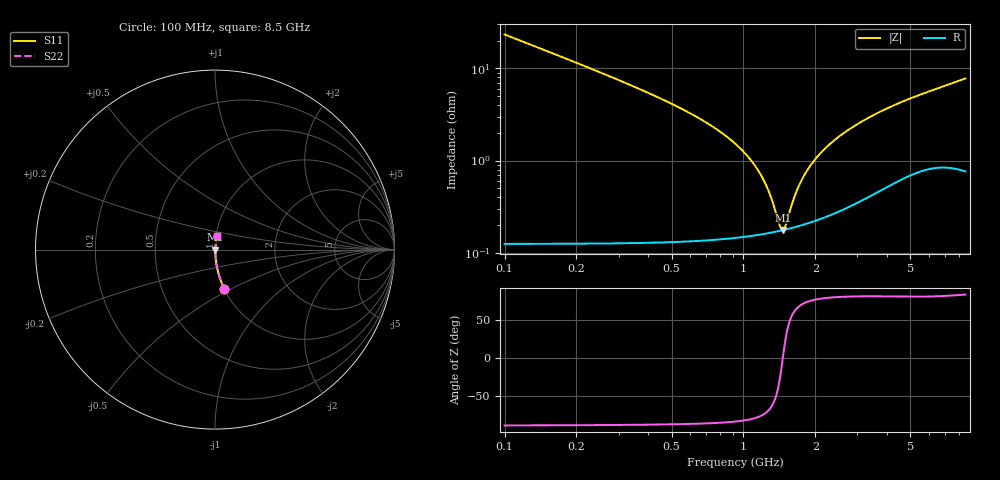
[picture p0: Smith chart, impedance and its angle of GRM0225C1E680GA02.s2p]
!Murata Part Number: GRM0225C1E680GA02
!These Parameters are Measured in Series Mode Connection
!Data Generated on Mar 30, 2021
!  o--ll--o
!Port1  Port2
!  o------o
!Operation Temp=25[degC], DC Bias Voltage=0[V]
!Freq. Start=100[MHz] Stop=9[GHz] 401[Steps]
# Hz S RI R 50
!Freq.(Hz) S11(Real) S11(Imag) S21(Real) S21(Imag) S12(Real) S12(Imag) S22(Real) S22(Imag)
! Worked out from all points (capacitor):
!   401 points, 100 MHz to 8.5 GHz, reference 50 ohm
!   read as one part in series: C = 68 pF near 142 MHz
!   lowest |Z| = 176 mohm at 1.465 GHz (marker M1)
!   series resonance near 1.462 GHz, so ESL is about 170 pH
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1e8  0.0525 -0.2204  0.9475 0.2204  0.9475 0.2204  0.0525 -0.2204
2.26e8  0.0113 -0.0998  0.9887 0.0998  0.9887 0.0998  0.0113 -0.0998
3.73e8  0.00469 -0.0583  0.9953 0.0583  0.9953 0.0583  0.00469 -0.0583
5.41e8  0.0027 -0.0372  0.9973 0.0372  0.9973 0.0372  0.0027 -0.0372
9.4e8  0.00167 -0.0145  0.9983 0.0145  0.9983 0.0145  0.00167 -0.0145
1.129e9  0.00162 -0.00832  0.9984 0.00832  0.9984 0.00832  0.00162 -0.00832
1.255e9  0.00164 -0.00487  0.9984 0.00487  0.9984 0.00487  0.00164 -0.00487
1.423e9  0.00173 -0.000852  0.9983 0.000852  0.9983 0.000852  0.00173 -0.000852
1.465e9  0.00176 7.36e-05  0.9982 -7.36e-05  0.9982 -7.36e-05  0.00176 7.36e-05
1.507e9  0.00179 0.000972  0.9982 -0.000972  0.9982 -0.000972  0.00179 0.000972
1.612e9  0.00188 0.00312  0.9981 -0.00312  0.9981 -0.00312  0.00188 0.00312
1.696e9  0.00196 0.00474  0.998 -0.00474  0.998 -0.00474  0.00196 0.00474
1.801e9  0.00207 0.00667  0.9979 -0.00667  0.9979 -0.00667  0.00207 0.00667
1.948e9  0.00225 0.00922  0.9977 -0.00922  0.9977 -0.00922  0.00225 0.00922
2.137e9  0.00251 0.0123  0.9975 -0.0123  0.9975 -0.0123  0.00251 0.0123
2.347e9  0.00283 0.0155  0.9972 -0.0155  0.9972 -0.0155  0.00283 0.0155
2.914e9  0.00389 0.0233  0.9961 -0.0233  0.9961 -0.0233  0.00389 0.0233
3.523e9  0.00526 0.0307  0.9947 -0.0307  0.9947 -0.0307  0.00526 0.0307
4.3e9  0.00723 0.0392  0.9928 -0.0392  0.9928 -0.0392  0.00723 0.0392
5.707e9  0.0105 0.0522  0.9895 -0.0522  0.9895 -0.0522  0.0105 0.0522
7.114e9  0.0124 0.0639  0.9876 -0.0639  0.9876 -0.0639  0.0124 0.0639
8.5e9  0.0134 0.0758  0.9866 -0.0758  0.9866 -0.0758  0.0134 0.0758
